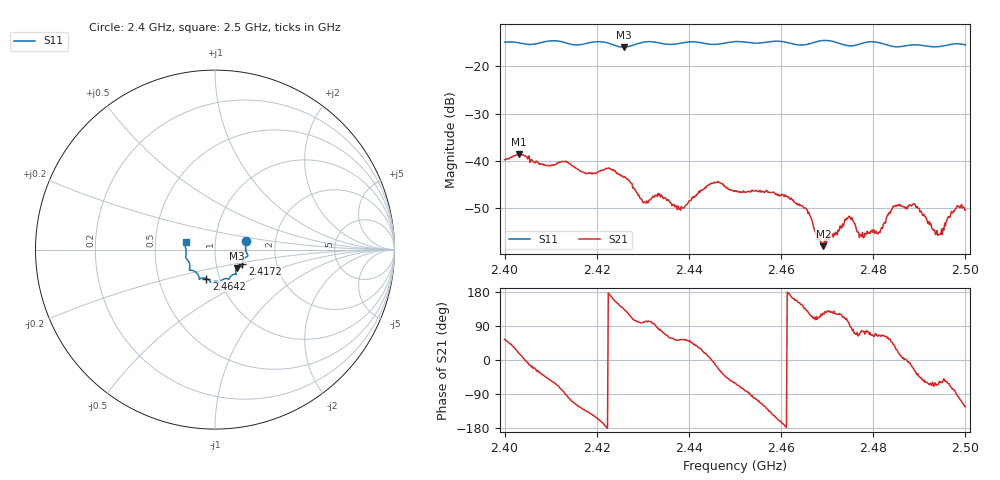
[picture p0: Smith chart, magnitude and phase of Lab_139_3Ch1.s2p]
# Hz S RI R 50
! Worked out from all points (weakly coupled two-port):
!   601 points, 2.4 GHz to 2.5 GHz, reference 50 ohm
!   highest |S21| = -38.54 dB at 2.4032 GHz (marker M1); lowest = -58.1 dB at 2.4692 GHz (marker M2)
!   lowest |S11| = -15.9 dB at 2.4258 GHz (marker M3), VSWR 1.38, Z = 62.3 - j13.2 ohm
!   |S11| at or under -10 dB: start of sweep to end of sweep
!   S12 and S22 are empty: the file has one direction only
!   S11 on the Smith chart (normalised r, x): 2.4 GHz: 1.41, +0.14; 2.4172 GHz: 1.34, -0.22; 2.4642 GHz: 0.86, -0.29; 2.5 GHz: 0.72, +0.06
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2.4e9  0.1736 0.0485  0.00598 0.00836  0 0  0 0
2.403167e9  0.1745 0.0325  0.0113 0.00353  0 0  0 0
2.416667e9  0.1531 -0.0747  -0.00458 -0.00617  0 0  0 0
2.417167e9  0.1523 -0.0805  -0.0049 -0.0057  0 0  0 0
2.425833e9  0.1214 -0.1036  -0.00465 0.00482  0 0  0 0
2.430167e9  0.1176 -0.1372  -0.000584 0.00355  0 0  0 0
2.433333e9  0.1127 -0.1373  0.000666 0.00447  0 0  0 0
2.438333e9  0.0812 -0.1563  0.00192 0.00267  0 0  0 0
2.445167e9  0.0539 -0.162  0.00579 -0.000294  0 0  0 0
2.45e9  0.0287 -0.1807  0.00228 -0.00414  0 0  0 0
2.458167e9  -0.0198 -0.183  -0.00377 -0.00273  0 0  0 0
2.464167e9  -0.0479 -0.1612  -0.00284 0.00178  0 0  0 0
2.466667e9  -0.0759 -0.1591  -0.000968 0.00219  0 0  0 0
2.469167e9  -0.088 -0.166  -0.000689 0.00104  0 0  0 0
2.474333e9  -0.1001 -0.1324  -0.000644 0.00233  0 0  0 0
2.4775e9  -0.1311 -0.1152  0.000346 0.00154  0 0  0 0
2.481333e9  -0.1421 -0.1071  0.000762 0.00159  0 0  0 0
2.483333e9  -0.1403 -0.0898  0.00154 0.0022  0 0  0 0
2.489e9  -0.1627 -0.0455  0.00308 -0.00165  0 0  0 0
2.494167e9  -0.1617 0.000115  0.000718 -0.00148  0 0  0 0
2.498e9  -0.1703 0.0323  0.000114 -0.00314  0 0  0 0
2.5e9  -0.1637 0.0424  -0.00162 -0.00253  0 0  0 0
